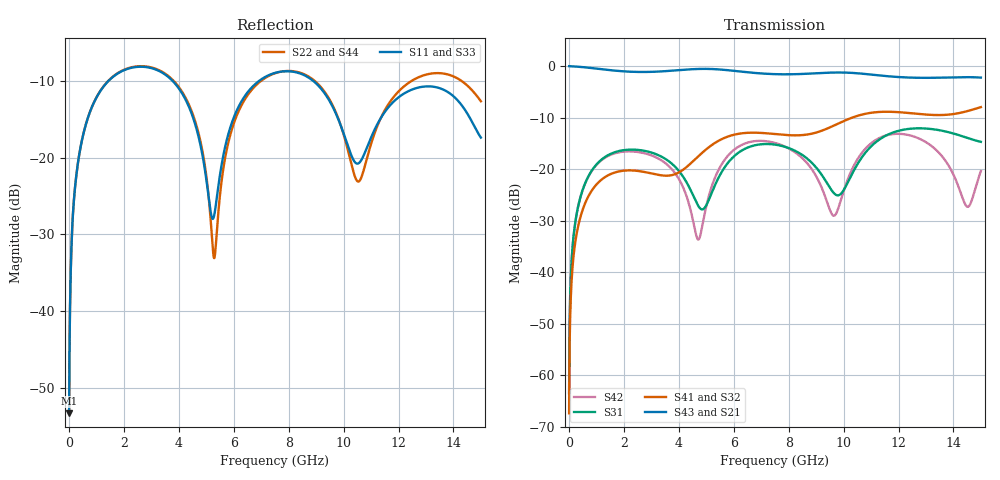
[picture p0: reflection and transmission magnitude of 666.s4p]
! Created with skrf 1.8.0 (http://scikit-rf.org).
# GHz S RI R 50.0
!freq ReS11 ImS11 ReS12 ImS12 ReS13 ImS13
! ReS14 ImS14
! ReS21 ImS21 ReS22 ImS22 ReS23 ImS23
! ReS24 ImS24
! ReS31 ImS31 ReS32 ImS32 ReS33 ImS33
! ReS34 ImS34
! ReS41 ImS41 ReS42 ImS42 ReS43 ImS43
! ReS44 ImS44
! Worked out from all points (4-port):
!   2499 points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, 5 MHz to 15 GHz, reference 50 ohm
!   strongest paths, dB at 5 MHz, 3.476 GHz, 7.19 GHz, 11.1 GHz, 15 GHz:
!     S43: 0.0, -1.0, -1.5, -1.7, -2.2
!     S21: 0.0, -1.0, -1.5, -1.7, -2.2
!     S41: -67.4, -21.3, -13.0, -9.0, -8.0
!     S32: -67.4, -21.4, -13.1, -9.0, -8.0
!     S31: -63.5, -17.9, -15.1, -15.1, -14.7
!     S42: -63.5, -18.7, -14.6, -14.6, -20.4
!   lowest |S11| = -53.4 dB at 5 MHz (marker M1), VSWR 1.00, Z = 50.2 + j0.13 ohm
!   |S11| at or under -10 dB: start of sweep to 1.425 GHz; 3.787 GHz to 6.903 GHz (3.116 GHz wide, 58.3 % of centre); 8.912 GHz to end of sweep
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0.005  0.00171 0.0013  0.9983 -0.00332  8.56e-05 0.000662  -8.31e-05 -0.000418
       0.9983 -0.00332  0.00171 0.0013  -8.31e-05 -0.000418  8.53e-05 0.000662
       8.56e-05 0.000662  -8.31e-05 -0.000418  0.00171 0.0013  0.9983 -0.00332
       -8.31e-05 -0.000418  8.53e-05 0.000662  0.9983 -0.00332  0.00171 0.0013
0.3126303  0.0257 0.0852  0.9648 -0.2065  0.012 0.039  -0.00972 -0.0243
           0.9648 -0.2065  0.0258 0.0852  -0.0097 -0.0243  0.0113 0.0392
           0.012 0.039  -0.0097 -0.0243  0.0257 0.0852  0.9648 -0.2065
           -0.00972 -0.0243  0.0113 0.0392  0.9648 -0.2065  0.0258 0.0852
1.469362  0.2657 0.1821  0.5578 -0.7249  0.1274 0.0546  -0.088 -0.00769
          0.5578 -0.7249  0.2686 0.1802  -0.0878 -0.00788  0.1186 0.0663
          0.1274 0.0546  -0.0878 -0.00788  0.2657 0.182  0.5578 -0.7249
          -0.088 -0.00769  0.1186 0.0663  0.5578 -0.7249  0.2685 0.1803
5.095873  0.0416 -0.0339  -0.9258 -0.1537  -0.036 0.0354  -0.0226 0.1617
          -0.9258 -0.1537  0.0248 -0.0476  -0.0259 0.1612  0.0237 0.0498
          -0.036 0.0354  -0.0259 0.1612  0.041 -0.0332  -0.9259 -0.1536
          -0.0226 0.1617  0.0237 0.0498  -0.9259 -0.1536  0.025 -0.0469
8.103376  0.3654 -0.0284  -0.0125 0.8329  0.1294 -0.0874  0.2042 -0.0603
          -0.0125 0.8329  0.368 -0.0266  0.204 -0.0529  0.1327 -0.0765
          0.1294 -0.0874  0.204 -0.0529  0.3666 -0.0303  -0.0132 0.8329
          0.2042 -0.0603  0.1327 -0.0765  -0.0132 0.8329  0.3669 -0.0241
10.86703  0.1104 0.0434  0.8326 -0.052  0.0497 0.1439  -0.0488 -0.344
          0.8326 -0.052  0.0881 0.0511  -0.0356 -0.3454  0.0434 0.1596
          0.0497 0.1439  -0.0356 -0.3454  0.1088 0.0452  0.8329 -0.0503
          -0.0488 -0.344  0.0434 0.1596  0.8329 -0.0503  0.0891 0.048
15  0.1339 -0.0213  -0.5822 -0.5067  -0.1626 -0.086  -0.2545 0.3084
    -0.5822 -0.5067  0.1847 -0.1442  -0.2721 0.2924  0.0235 0.093
    -0.1626 -0.086  -0.2721 0.2924  0.1221 -0.0194  -0.5826 -0.5084
    -0.2545 0.3084  0.0235 0.093  -0.5826 -0.5084  0.1811 -0.139
